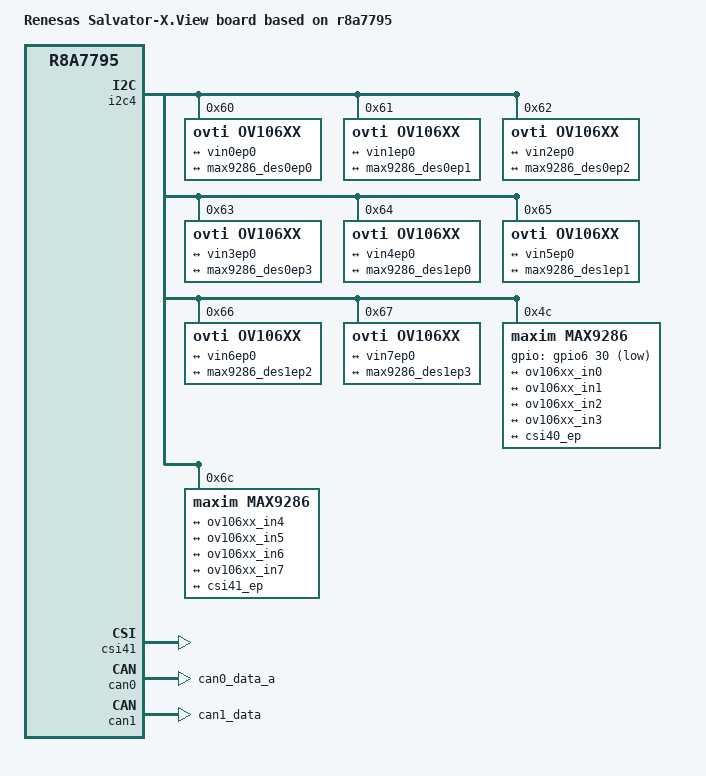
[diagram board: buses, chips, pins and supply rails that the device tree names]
/*
 * Device Tree Source for the Salvator-X.View board on r8a7795 ES1.x
 *
 * Copyright (C) 2016-2017 Renesas Electronics Corp.
 * Copyright (C) 2015-2017 Cogent Embedded, Inc
 *
 * This file is licensed under the terms of the GNU General Public License
 * version 2.  This program is licensed "as is" without any warranty of any
 * kind, whether express or implied.
 */

#include "r8a7795-es1-salvator-x.dts"

/ {
	model = "Renesas Salvator-X.View board based on r8a7795";
};

&pfc {
	can0_pins: can0 {
		groups = "can0_data_a";
		function = "can0";
	};

	can1_pins: can1 {
		groups = "can1_data";
		function = "can1";
	};
};

&i2c4 {
	/delete-node/hdmi-in@34;
	/delete-node/composite-in@70;

	ov106xx@0 {
		compatible = "ovti,ov106xx";
		reg = <0x60>;

		port@0 {
			ov106xx_in0: endpoint {
				clock-lanes = <0>;
				data-lanes = <1 2 3 4>;
				remote-endpoint = <&vin0ep0>;
			};
		};
		port@1 {
			ov106xx_max9286_des0ep0: endpoint@0 {
				remote-endpoint = <&max9286_des0ep0>;
			};
		};
	};

	ov106xx@1 {
		compatible = "ovti,ov106xx";
		reg = <0x61>;

		port@0 {
			ov106xx_in1: endpoint {
				clock-lanes = <0>;
				data-lanes = <1 2 3 4>;
				remote-endpoint = <&vin1ep0>;
			};
		};
		port@1 {
			ov106xx_max9286_des0ep1: endpoint@0 {
				remote-endpoint = <&max9286_des0ep1>;
			};
		};
	};

	ov106xx@2 {
		compatible = "ovti,ov106xx";
		reg = <0x62>;

		port@0 {
			ov106xx_in2: endpoint {
				clock-lanes = <0>;
				data-lanes = <1 2 3 4>;
				remote-endpoint = <&vin2ep0>;
			};
		};
		port@1 {
			ov106xx_max9286_des0ep2: endpoint@0 {
				remote-endpoint = <&max9286_des0ep2>;
			};
		};
	};

	ov106xx@3 {
		compatible = "ovti,ov106xx";
		reg = <0x63>;

		port@0 {
			ov106xx_in3: endpoint {
				clock-lanes = <0>;
				data-lanes = <1 2 3 4>;
				remote-endpoint = <&vin3ep0>;
			};
		};
		port@1 {
			ov106xx_des0ep3: endpoint {
				remote-endpoint = <&max9286_des0ep3>;
			};
		};
	};

	ov106xx@4 {
		compatible = "ovti,ov106xx";
		reg = <0x64>;

		port@0 {
			ov106xx_in4: endpoint {
				clock-lanes = <0>;
				data-lanes = <1 2 3 4>;
				remote-endpoint = <&vin4ep0>;
			};
		};
		port@1 {
			ov106xx_max9286_des1ep0: endpoint@0 {
				remote-endpoint = <&max9286_des1ep0>;
			};
		};
	};

	ov106xx@5 {
		compatible = "ovti,ov106xx";
		reg = <0x65>;

		port@0 {
			ov106xx_in5: endpoint {
				clock-lanes = <0>;
				data-lanes = <1 2 3 4>;
				remote-endpoint = <&vin5ep0>;
			};
		};
		port@1 {
			ov106xx_max9286_des1ep1: endpoint@0 {
				remote-endpoint = <&max9286_des1ep1>;
			};
		};
	};

	ov106xx@6 {
		compatible = "ovti,ov106xx";
		reg = <0x66>;

		port@0 {
			ov106xx_in6: endpoint {
				clock-lanes = <0>;
				data-lanes = <1 2 3 4>;
				remote-endpoint = <&vin6ep0>;
			};
		};
		port@1 {
			ov106xx_max9286_des1ep2: endpoint@0 {
				remote-endpoint = <&max9286_des1ep2>;
			};
		};
	};

	ov106xx@7 {
		compatible = "ovti,ov106xx";
		reg = <0x67>;

		port@0 {
			ov106xx_in7: endpoint {
				clock-lanes = <0>;
				data-lanes = <1 2 3 4>;
				remote-endpoint = <&vin7ep0>;
			};
		};
		port@1 {
			ov106xx_des1ep3: endpoint {
				remote-endpoint = <&max9286_des1ep3>;
			};
		};
	};

	max9286@0 {
		compatible = "maxim,max9286";
		reg = <0x4c>;
		gpios = <&gpio6 30 GPIO_ACTIVE_LOW>;
		maxim,links = <4>;
		maxim,lanes = <4>;
		maxim,resetb-gpio = <1>;
		maxim,fsync-mode = "automatic";
		maxim,timeout = <100>;
		maxim,i2c-quirk = <0x6c>;

		port@0 {
			max9286_des0ep0: endpoint@0 {
				max9271-addr = <0x50>;
				dvp-order = <1>;
				remote-endpoint = <&ov106xx_in0>;
			};
			max9286_des0ep1: endpoint@1 {
				max9271-addr = <0x51>;
				dvp-order = <1>;
				remote-endpoint = <&ov106xx_in1>;
			};
			max9286_des0ep2: endpoint@2 {
				max9271-addr = <0x52>;
				dvp-order = <1>;
				remote-endpoint = <&ov106xx_in2>;
			};
			max9286_des0ep3: endpoint@3 {
				max9271-addr = <0x53>;
				dvp-order = <1>;
				remote-endpoint = <&ov106xx_in3>;
			};
		};
		port@1 {
			max9286_csi0ep0: endpoint {
				csi-rate = <700>;
				remote-endpoint = <&csi40_ep>;
			};
		};
	};

	max9286@1 {
		compatible = "maxim,max9286";
		reg = <0x6c>;
		maxim,links = <4>;
		maxim,lanes = <4>;
		maxim,resetb-gpio = <1>;
		maxim,fsync-mode = "automatic";
		maxim,timeout = <100>;

		port@0 {
			max9286_des1ep0: endpoint@0 {
				max9271-addr = <0x54>;
				dvp-order = <1>;
				remote-endpoint = <&ov106xx_in4>;
			};
			max9286_des1ep1: endpoint@1 {
				max9271-addr = <0x55>;
				dvp-order = <1>;
				remote-endpoint = <&ov106xx_in5>;
			};
			max9286_des1ep2: endpoint@2 {
				max9271-addr = <0x56>;
				dvp-order = <1>;
				remote-endpoint = <&ov106xx_in6>;
			};
			max9286_des1ep3: endpoint@3 {
				max9271-addr = <0x57>;
				dvp-order = <1>;
				remote-endpoint = <&ov106xx_in7>;
			};
		};
		port@1 {
			max9286_csi2ep0: endpoint {
				csi-rate = <700>;
				remote-endpoint = <&csi41_ep>;
			};
		};
	};
};

&vin0 {
	ports {
		#address-cells = <1>;
		#size-cells = <0>;

		port@0 {
			vin0ep0: endpoint {
				csi,select = "csi40";
				virtual,channel = <0>;
				data-lanes = <1 2 3 4>;
				remote-endpoint = <&ov106xx_in0>;
			};
		};
		port@1 {
			csi0ep0: endpoint {
				remote-endpoint = <&csi40_ep>;
			};
		};
		port@2 {
			vin0_max9286_des0ep0: endpoint@0 {
				remote-endpoint = <&max9286_des0ep0>;
			};
		};
	};
};

&vin1 {
	ports {
		#address-cells = <1>;
		#size-cells = <0>;

		port@0 {
			vin1ep0: endpoint {
				csi,select = "csi40";
				virtual,channel = <1>;
				data-lanes = <1 2 3 4>;
				remote-endpoint = <&ov106xx_in1>;
			};
		};
		port@1 {
			csi0ep1: endpoint {
				remote-endpoint = <&csi40_ep>;
			};
		};
		port@2 {
			vin1_max9286_des0ep1: endpoint@0 {
				remote-endpoint = <&max9286_des0ep1>;
			};
		};
	};
};

&vin2 {
	ports {
		#address-cells = <1>;
		#size-cells = <0>;

		port@0 {
			vin2ep0: endpoint {
				csi,select = "csi40";
				virtual,channel = <2>;
				data-lanes = <1 2 3 4>;
				remote-endpoint = <&ov106xx_in2>;
			};
		};
		port@1 {
			csi0ep2: endpoint {
				remote-endpoint = <&csi40_ep>;
			};
		};
		port@2 {
			vin2_max9286_des0ep2: endpoint@0 {
				remote-endpoint = <&max9286_des0ep2>;
			};
		};
	};
};

&vin3 {
	ports {
		#address-cells = <1>;
		#size-cells = <0>;

		port@0 {
			vin3ep0: endpoint {
				csi,select = "csi40";
				virtual,channel = <3>;
				data-lanes = <1 2 3 4>;
				remote-endpoint = <&ov106xx_in3>;
			};
		};
		port@1 {
			csi0ep3: endpoint {
				remote-endpoint = <&csi40_ep>;
			};
		};
		port@2 {
			vin3_max9286_des0ep3: endpoint@0 {
				remote-endpoint = <&max9286_des0ep3>;
			};
		};
	};
};

&vin4 {
	ports {
		#address-cells = <1>;
		#size-cells = <0>;

		port@0 {
			vin4ep0: endpoint {
				csi,select = "csi41";
				virtual,channel = <0>;
				remote-endpoint = <&ov106xx_in4>;
				data-lanes = <1 2 3 4>;
			};
		};
		port@1 {
			csi2ep0: endpoint {
				remote-endpoint = <&csi41_ep>;
			};
		};
		port@2 {
			vin4_max9286_des1ep0: endpoint@0 {
				remote-endpoint = <&max9286_des1ep0>;
			};
		};
	};
};

&vin5 {
	ports {
		#address-cells = <1>;
		#size-cells = <0>;

		port@0 {
			vin5ep0: endpoint@0 {
				csi,select = "csi41";
				virtual,channel = <1>;
				remote-endpoint = <&ov106xx_in5>;
				data-lanes = <1 2 3 4>;
			};
		};
		port@1 {
			csi2ep1: endpoint {
				remote-endpoint = <&csi41_ep>;
			};
		};
		port@2 {
			vin5_max9286_des1ep1: endpoint@0 {
				remote-endpoint = <&max9286_des1ep1>;
			};
		};
	};
};

&vin6 {
	ports {
		#address-cells = <1>;
		#size-cells = <0>;

		port@0 {
			vin6ep0: endpoint@0 {
				csi,select = "csi41";
				virtual,channel = <2>;
				remote-endpoint = <&ov106xx_in6>;
				data-lanes = <1 2 3 4>;
			};
		};
		port@1 {
			csi2ep2: endpoint {
				remote-endpoint = <&csi41_ep>;
			};
		};
		port@2 {
			vin6_max9286_des1ep2: endpoint@0 {
				remote-endpoint = <&max9286_des1ep2>;
			};
		};
	};
};

&vin7 {
	ports {
		#address-cells = <1>;
		#size-cells = <0>;

		port@0 {
			vin7ep0: endpoint@0 {
				csi,select = "csi41";
				virtual,channel = <3>;
				remote-endpoint = <&ov106xx_in7>;
				data-lanes = <1 2 3 4>;
			};
		};
		port@1 {
			csi2ep3: endpoint {
				remote-endpoint = <&csi41_ep>;
			};
		};
		port@2 {
			vin7_max9286_des1ep3: endpoint@0 {
				remote-endpoint = <&max9286_des1ep3>;
			};
		};
	};
};

&csi20 {
	status = "disabled";
	/delete-node/ports;
};

&csi40 {
	/delete-node/ports;

	virtual,channel {
		csi2_vc0 {
			data,type = "ycbcr422";
			receive,vc = <0>;
		};
		csi2_vc1 {
			data,type = "ycbcr422";
			receive,vc = <1>;
		};
		csi2_vc2 {
			data,type = "ycbcr422";
			receive,vc = <2>;
		};
		csi2_vc3 {
			data,type = "ycbcr422";
			receive,vc = <3>;
		};
	};

	port {
		#address-cells = <1>;
		#size-cells = <0>;

		csi40_ep: endpoint {
			clock-lanes = <0>;
			data-lanes = <1 2 3 4>;
			csi-rate = <300>;
		};
	};
};

&csi41 {
	status = "okay";

	virtual,channel {
		csi2_vc0 {
			data,type = "ycbcr422";
			receive,vc = <0>;
		};
		csi2_vc1 {
			data,type = "ycbcr422";
			receive,vc = <1>;
		};
		csi2_vc2 {
			data,type = "ycbcr422";
			receive,vc = <2>;
		};
		csi2_vc3 {
			data,type = "ycbcr422";
			receive,vc = <3>;
		};
	};

	port {
		#address-cells = <1>;
		#size-cells = <0>;

		csi41_ep: endpoint {
			clock-lanes = <0>;
			data-lanes = <1 2 3 4>;
			csi-rate = <300>;
		};
	};
};

&can0 {
	pinctrl-0 = <&can0_pins>;
	pinctrl-names = "default";
	status = "okay";
};

&can1 {
	pinctrl-0 = <&can1_pins>;
	pinctrl-names = "default";
	status = "okay";
};
